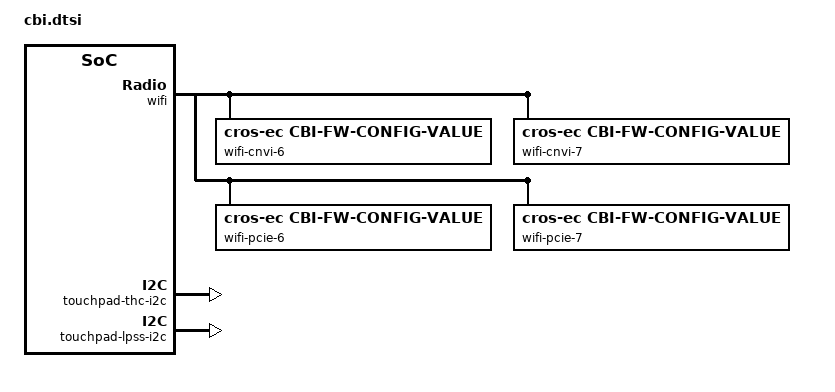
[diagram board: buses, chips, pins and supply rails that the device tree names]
/* Copyright 2025 The ChromiumOS Authors
 * Use of this source code is governed by a BSD-style license that can be
 * found in the LICENSE file.
 */

/ {
	/* ptl-ish fw_config fields (subset relevant to ISH). */
	ptl-ish-fw-config {
		compatible = "cros-ec,cbi-fw-config";

		wifi {
			enum-name = "FW_WIFI";
			start = <4>;
			size = <2>;

			wifi-cnvi-6 {
				compatible = "cros-ec,cbi-fw-config-value";
				enum-name = "FW_WIFI_CNVI_6";
				value = <0>;
				default;
			};
			wifi-cnvi-7 {
				compatible = "cros-ec,cbi-fw-config-value";
				enum-name = "FW_WIFI_CNVI_7";
				value = <1>;
			};
			wifi-pcie-6 {
				compatible = "cros-ec,cbi-fw-config-value";
				enum-name = "FW_WIFI_PCIE_6";
				value = <2>;
			};
			wifi-pcie-7 {
				compatible = "cros-ec,cbi-fw-config-value";
				enum-name = "FW_WIFI_PCIE_7";
				value = <3>;
			};
		};

		touchpad {
			enum-name = "FW_TOUCHPAD";
			start = <11>;
			size = <2>;

			touchpad-none {
				compatible = "cros-ec,cbi-fw-config-value";
				enum-name = "FW_TOUCHPAD_NONE";
				value = <0>;
				default;
			};
			touchpad-thc-i2c {
				compatible = "cros-ec,cbi-fw-config-value";
				enum-name = "FW_TOUCHPAD_THC_I2C";
				value = <1>;
			};
			touchpad-lpss-i2c {
				compatible = "cros-ec,cbi-fw-config-value";
				enum-name = "FW_TOUCHPAD_LPSS_I2C";
				value = <2>;
			};
		};

		ish {
			enum-name = "FW_ISH";
			start = <24>;
			size = <1>;

			ish-disable {
				compatible = "cros-ec,cbi-fw-config-value";
				enum-name = "FW_ISH_DISABLE";
				value = <0>;
				default;
			};
			ish-enable {
				compatible = "cros-ec,cbi-fw-config-value";
				enum-name = "FW_ISH_ENABLE";
				value = <1>;
			};
		};
	};
};
